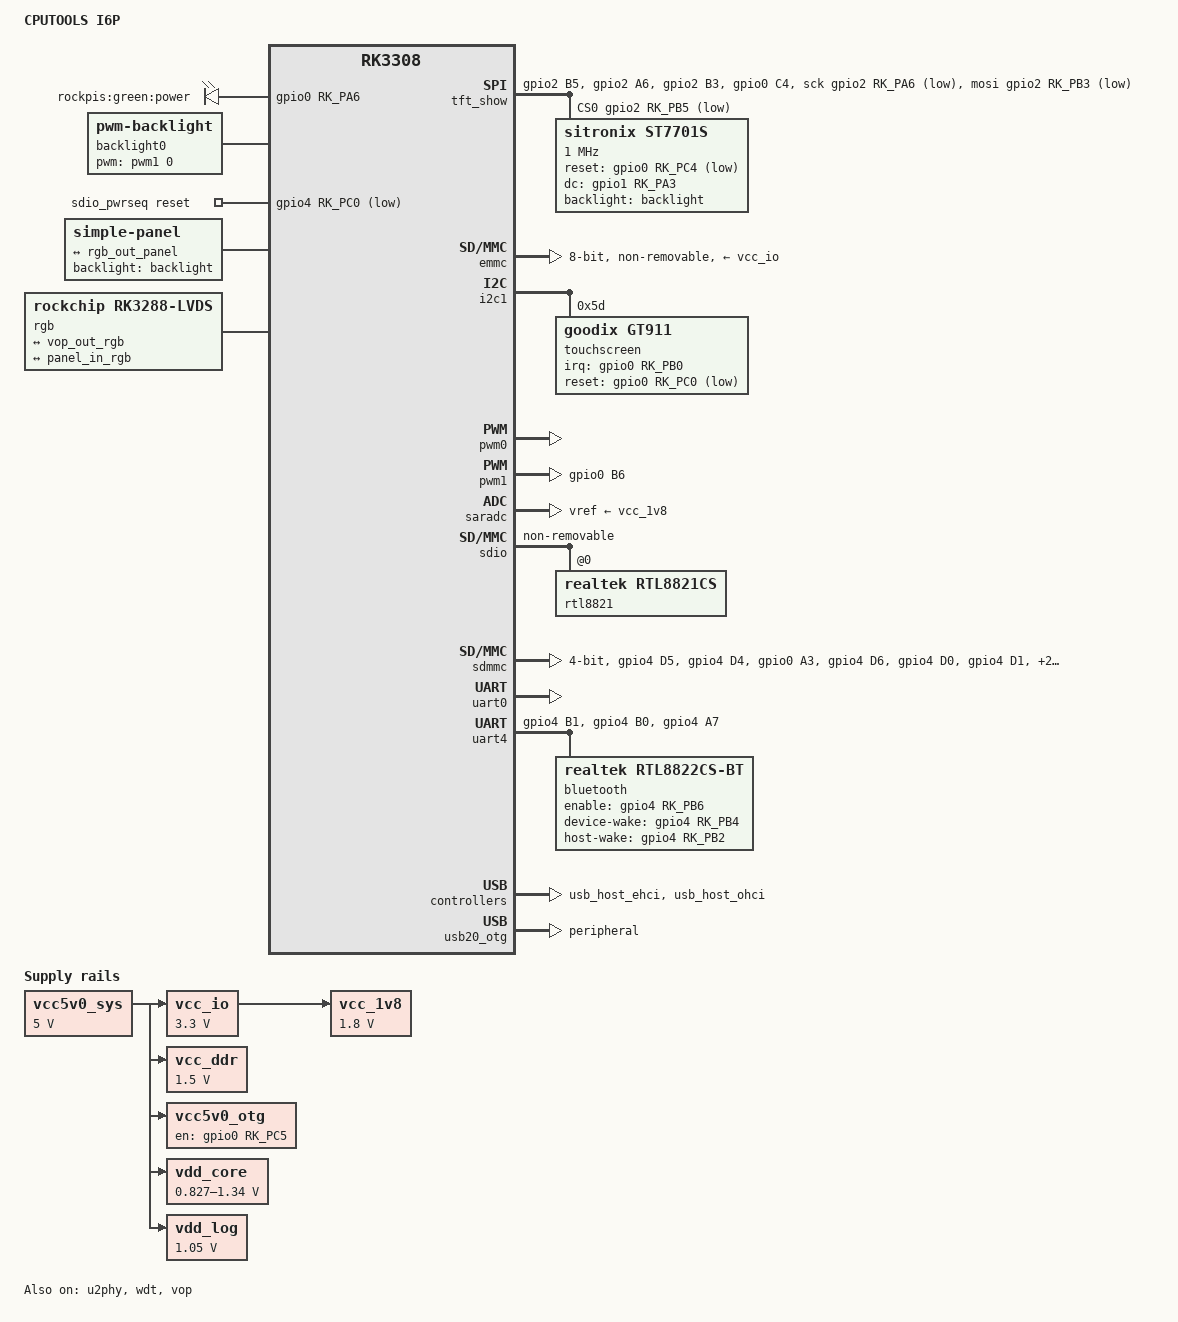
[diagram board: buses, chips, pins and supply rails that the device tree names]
// SPDX-License-Identifier: (GPL-2.0+ OR MIT)
/*
 * Copyright (c) 2019 Akash Gajjar <akash@openedev.com>
 * Copyright (c) 2019 Jagan Teki <jagan@openedev.com>
 */

/dts-v1/;
#include "rk3308.dtsi"
#include <dt-bindings/pwm/pwm.h>
#include <dt-bindings/gpio/gpio.h>
#include <dt-bindings/input/input.h>

/ {
	model = "CPUTOOLS I6P";
	compatible = "i2c,cputools-i6s", "rockchip,rk3308";

	aliases {
		ethernet0 = &gmac;
		mmc0 = &emmc;
		mmc1 = &sdmmc;
		serial0 = &uart0;
	};

	chosen {
		stdout-path = "serial0:1500000n8";
	};

	leds {
		compatible = "gpio-leds";
		pinctrl-names = "default";
		pinctrl-0 = <&green_led_gio>, <&heartbeat_led_gpio>;

		green-led {
			default-state = "on";
			gpios = <&gpio0 RK_PA6 GPIO_ACTIVE_HIGH>;
			label = "rockpis:green:power";
			linux,default-trigger = "timer";
		};
	};

	gpio_keys: gpio-keys {
		compatible = "gpio-keys";
		autorepeat;
	};

	backlight: backlight {
        compatible = "pwm-backlight";
		label = "backlight0";
		pwms = <&pwm1 0 50000 0>;
		brightness-levels = <
			95  95  95  95  95  95  95  95
			95  95  95  95  95  95  95  95
			95  95  95  95  95  95  95  95
			95  95  95  95  95  95  95  95
			95  95  95  95  95  95  95  95
			95  95  95  95  95  95  95  95
			95  95  95  95  95  95  95  95
			95  95  95  95  95  95  95  95
			95  95  95  95  95  95  95  95
			95  95  95  95  95  95  95  95
			95  95  95  95  95  95  95  95
			88  89  90  91  92  93  94  95
			96  97  98  99 100 101 102 103
			104 105 106 107 108 109 110 111
			112 113 114 115 116 117 118 119
			120 121 122 123 124 125 126 127
			128 129 130 131 132 133 134 135
			136 137 138 139 140 141 142 143
			144 145 146 147 148 149 150 151
			152 153 154 155 156 157 158 159
			160 161 162 163 164 165 166 167
			168 169 170 171 172 173 174 175
			176 177 178 179 180 181 182 183
			184 185 186 187 188 189 190 191
			192 193 194 195 196 197 198 199
			200 201 202 203 204 205 206 207
			208 209 210 211 212 213 214 215
			216 217 218 219 220 221 222 223
			224 225 226 227 228 229 230 231
			232 233 234 235 236 237 238 239
			240 241 242 243 244 245 246 247
			248 249 250 251 252 253 254 255
		>;
		default-brightness-level = <128>;
        status = "okay";
    };

	sdio_pwrseq: sdio-pwrseq {
		compatible = "mmc-pwrseq-simple";
		pinctrl-0 = <&wifi_enable_h>;
		pinctrl-names = "default";
		reset-gpios = <&gpio4 RK_PC0 GPIO_ACTIVE_LOW>;
	};

	tft_show: tft-show {
		compatible = "spi-gpio";
		#address-cells = <0x1>;
		#size-cells = <0x0>;
		pinctrl-0 = <&spi_gpio_pins &reset_pins>;
		pinctrl-names = "default";

		cs-gpios = <&gpio2 RK_PB5 GPIO_ACTIVE_LOW>;
		sck-gpios = <&gpio2 RK_PA6 GPIO_ACTIVE_LOW>;
		mosi-gpios = <&gpio2 RK_PB3 GPIO_ACTIVE_LOW>;
		num-chipselects = <1>;

		st7701s@0 {
			compatible = "sitronix,st7701s";
			reg = <0>;
			spi-max-frequency =<1000000>;
			rotate = <0>;
			spi-cpol;
			spi-cpha;
			rgb;
			fps = <10>;
			buswidth = <9>;
			reset-gpios = <&gpio0 RK_PC4 GPIO_ACTIVE_LOW>;
			dc-gpios = <&gpio1 RK_PA3 GPIO_ACTIVE_HIGH>;
			debug = <0>;
			backlight = <&backlight>;
			status = "okay";
		};
    };

	vcc_1v8: vcc-1v8 {
		compatible = "regulator-fixed";
		regulator-name = "vcc_1v8";
		regulator-always-on;
		regulator-boot-on;
		regulator-min-microvolt = <1800000>;
		regulator-max-microvolt = <1800000>;
		vin-supply = <&vcc_io>;
	};

	vcc_io: vcc-io {
		compatible = "regulator-fixed";
		regulator-name = "vcc_io";
		regulator-always-on;
		regulator-boot-on;
		regulator-min-microvolt = <3300000>;
		regulator-max-microvolt = <3300000>;
		vin-supply = <&vcc5v0_sys>;
	};

	vcc_ddr: vcc-ddr {
		compatible = "regulator-fixed";
		regulator-name = "vcc_ddr";
		regulator-always-on;
		regulator-boot-on;
		regulator-min-microvolt = <1500000>;
		regulator-max-microvolt = <1500000>;
		vin-supply = <&vcc5v0_sys>;
	};

	vcc5v0_otg: vcc5v0-otg {
		compatible = "regulator-fixed";
		enable-active-high;
		gpio = <&gpio0 RK_PC5 GPIO_ACTIVE_HIGH>;
		pinctrl-names = "default";
		pinctrl-0 = <&otg_vbus_drv>;
		regulator-name = "vcc5v0_otg";
		regulator-always-on;
		vin-supply = <&vcc5v0_sys>;
	};

	vcc5v0_sys: vcc5v0-sys {
		compatible = "regulator-fixed";
		regulator-name = "vcc5v0_sys";
		regulator-always-on;
		regulator-boot-on;
		regulator-min-microvolt = <5000000>;
		regulator-max-microvolt = <5000000>;
	};

	vdd_core: vdd-core {
		compatible = "pwm-regulator";
		pwms = <&pwm0 0 5000 1>;
		pwm-supply = <&vcc5v0_sys>;
		regulator-name = "vdd_core";
		regulator-min-microvolt = <827000>;
		regulator-max-microvolt = <1340000>;
		regulator-init-microvolt = <1015000>;
		regulator-settling-time-up-us = <250>;
		regulator-always-on;
		regulator-boot-on;
	};

	vdd_log: vdd-log {
		compatible = "regulator-fixed";
		regulator-name = "vdd_log";
		regulator-always-on;
		regulator-boot-on;
		regulator-min-microvolt = <1050000>;
		regulator-max-microvolt = <1050000>;
		vin-supply = <&vcc5v0_sys>;
	};

	display_subsystem: display-subsystem {
		compatible = "rockchip,display-subsystem";
		ports = <&vop_out>;
		logo-memory-region = <&drm_logo>;
		status = "disabled";

		devfreq = <&dmc>;
		route {
			route_rgb: route-rgb {
				status = "disabled";
				logo,uboot = "logo.bmp";
				/* logo,kernel = "logo_kernel.bmp"; */
				logo,mode = "center";
				charge_logo,mode = "center";
				connect = <&vop_out_rgb>;
			};
		};
	};

	panel: panel {
		compatible = "auo,b101ean01";
		status = "disabled";
		/* enable-gpios = <&gpio7 21 GPIO_ACTIVE_HIGH>; */
		bus-format = <0x100a>;

		ports {
			panel_in_rgb: endpoint {
				remote-endpoint = <&rgb_out_panel>;
			};
		};
	};

	rgb: rgb {
		compatible = "rockchip,rk3288-lvds";
		status = "disabled";
		pinctrl-names = "default";
		pinctrl-0 = <&lcdc_ctl>;

		ports {
			#address-cells = <1>;
			#size-cells = <0>;

			port@0 {
				reg = <0>;

				#address-cells = <1>;
				#size-cells = <0>;

				rgb_in_vop: endpoint@0 {
					reg = <0>;
					remote-endpoint = <&vop_out_rgb>;
				};
			};

			rgb_out: port@1 {
				reg = <1>;
				#address-cells = <1>;
				#size-cells = <0>;

				rgb_out_panel: endpoint {
					remote-endpoint = <&panel_in_rgb>;
				};
			};

		};
	};

	vop: vop@ff2e0000 {
		compatible = "rockchip,rk3308-vop";
		reg = <0x0 0xff2e0000 0x0 0x1fc>, <0x0 0xff2e0a00 0x0 0x400>;
		reg-names = "regs", "gamma_lut";
		interrupts = <GIC_SPI 46 IRQ_TYPE_LEVEL_HIGH>;
		clocks = <&cru ACLK_VOP>, <&cru DCLK_VOP>,
			 <&cru HCLK_VOP>;
		clock-names = "aclk_vop", "dclk_vop", "hclk_vop";
		rockchip,grf = <&grf>;
		status = "disabled";

		vop_out: port {
			#address-cells = <1>;
			#size-cells = <0>;

			vop_out_rgb: endpoint@0 {
				reg = <0>;
				remote-endpoint = <&rgb_in_vop>;
			};
		};
	};
};

&cpu0 {
	cpu-supply = <&vdd_core>;
};

&emmc {
	pinctrl-names = "default";
    pinctrl-0 = <&emmc_clk &emmc_cmd &emmc_bus8>;
	bus-width = <8>;
	cap-mmc-highspeed;
	mmc-hs200-1_8v;
	non-removable;
	vmmc-supply = <&vcc_io>;
	status = "okay";
};

&display_subsystem {
	status = "okay";
};

&panel {
	compatible = "simple-panel";
	/* compatible = "auo,b101ean01"; *//* 1280 x 800 */
	/* compatible = "avic,tm070ddh03"; *//* 1024 x 600 */
	/* compatible = "innolux,zj070na-01p"; *//* 1024 x 600 */
	/* MEDIA_BUS_FMT_RGB888_1X24 MEDIA_BUS_FMT_RGB666_1X18 MEDIA_BUS_FMT_RGB565_1X16 MEDIA_BUS_FMT_RGB666_1X24_CPADHI */
	bus-format = <MEDIA_BUS_FMT_RGB666_1X18>;
	backlight = <&backlight>;
	status = "okay";

	reset-delay-ms = <120>;
	init-delay-ms = <120>;
	enable-delay-ms = <120>;
	prepare-delay-ms = <120>;
	disable-delay-ms = <120>;
	unprepare-delay-ms = <120>;

	display-timings {
		native-mode = <&mdk3308_lcd1024_timing>;

		mdk3308_lcd1024_timing: timing0 {
			clock-frequency = <36600000>;
			hactive = <1024>;
			vactive = <600>;
			hback-porch = <140>;
			hfront-porch = <160>;
			vback-porch = <20>;
			vfront-porch = <12>;
			hsync-len = <20>;
			vsync-len = <3>;
			hsync-active = <0>;
			vsync-active = <0>;
			de-active = <0>;
			pixelclk-active = <1>;
		};

		mdk3308_lcd800_timing: timing1 {
			clock-frequency = <33000000>;
			hactive = <800>;
			vactive = <480>;
			hback-porch = <40>;
			hfront-porch = <40>;
			vback-porch = <29>;
			vfront-porch = <13>;
			hsync-len = <48>;
			vsync-len = <3>;
			hsync-active = <0>;
			vsync-active = <0>;
			de-active = <0>;
			pixelclk-active = <1>;
		};

		mdk3308_lcd480_timing: timing2 {
			clock-frequency = <9000000>;
			hactive = <480>;
			vactive = <272>;
			hback-porch = <2>;
			hfront-porch = <2>;
			vback-porch = <2>;
			vfront-porch = <2>;
			hsync-len = <41>;
			vsync-len = <10>;
			hsync-active = <0>;
			vsync-active = <0>;
			de-active = <0>;
			pixelclk-active = <1>;
		};

		mdk3308_lcd320480_timing: timing3 {
			clock-frequency = <11000000>;
			hactive = <320>;
			vactive = <480>;
			hback-porch = <10>;
			hfront-porch = <4>;
			vback-porch = <10>;
			vfront-porch = <4>;
			hsync-len = <20>;
			vsync-len = <20>;
			hsync-active = <0>;
			vsync-active = <0>;
			de-active = <0>;
			pixelclk-active = <0>;
		};
	};
};

&rgb {
	/delete-property/ pinctrl-0;
	status = "okay";
};

&vop {
	status = "okay";
};

&gmac {
	status = "disabled";
};

&i2c1 {
	compatible = "rockchip,rk3399-i2c";
	status = "okay";
	pinctrl-names = "default";
    pinctrl-0 = <&i2c1_xfer>;

	touchscreen@5d {
		compatible = "goodix,gt911";
		reg = <0x5d>;
		pinctrl-names = "default";
		pinctrl-0 = <&tp_int &tp_reset>;
		interrupt-parent = <&gpio0>;
		interrupts = <RK_PB0 IRQ_TYPE_EDGE_FALLING>;
		irq-gpios = <&gpio0 RK_PB0 GPIO_ACTIVE_HIGH>;
		reset-gpios = <&gpio0 RK_PC0 GPIO_ACTIVE_LOW>;
		// touchscreen-swapped-x-y;
		touchscreen-size-x = <480>;
		touchscreen-size-y = <800>;
		status = "okay";
	};
};

&pinctrl {
	pinctrl-names = "default";
	pinctrl-0 = <&rtc_32k>;

	sdmmc {
		sdmmc_clk: sdmmc-clk {
			rockchip,pins =
				<4 RK_PD5 1 &pcfg_pull_none_4ma>;
		};

		sdmmc_cmd: sdmmc-cmd {
			rockchip,pins =
				<4 RK_PD4 1 &pcfg_pull_up_4ma>;
		};

		sdmmc_det: sdmmc-det {
			rockchip,pins =
				<0 RK_PA3 1 &pcfg_pull_up_4ma>;
		};

		sdmmc_pwren: sdmmc-pwren {
			rockchip,pins =
				<4 RK_PD6 1 &pcfg_pull_none_4ma>;
		};

		sdmmc_bus1: sdmmc-bus1 {
			rockchip,pins =
				<4 RK_PD0 1 &pcfg_pull_up_4ma>;
		};

		sdmmc_bus4: sdmmc-bus4 {
			rockchip,pins =
				<4 RK_PD0 1 &pcfg_pull_up_4ma>,
				<4 RK_PD1 1 &pcfg_pull_up_4ma>,
				<4 RK_PD2 1 &pcfg_pull_up_4ma>,
				<4 RK_PD3 1 &pcfg_pull_up_4ma>;
		};

		sdmmc_bus8: sdmmc-bus8 {
			rockchip,pins =
				<4 RK_PD0 0 &pcfg_pull_up_4ma>,
				<4 RK_PD1 0 &pcfg_pull_up_4ma>,
				<4 RK_PD2 0 &pcfg_pull_up_4ma>,
				<4 RK_PD3 0 &pcfg_pull_up_4ma>,
				<4 RK_PD4 0 &pcfg_pull_up_4ma>,
				<4 RK_PD5 0 &pcfg_pull_up_4ma>,
				<4 RK_PD6 0 &pcfg_pull_up_4ma>;
		};
	};

	leds {
		green_led_gio: green-led-gpio {
			rockchip,pins = <0 RK_PA6 RK_FUNC_GPIO &pcfg_pull_none>;
		};

		heartbeat_led_gpio: heartbeat-led-gpio {
			rockchip,pins = <0 RK_PA5 RK_FUNC_GPIO &pcfg_pull_none>;
		};
	};

	usb {
		otg_vbus_drv: otg-vbus-drv {
			rockchip,pins = <0 RK_PC5 RK_FUNC_GPIO &pcfg_pull_none>;
		};
	};

	sdio-pwrseq {
		wifi_enable_h: wifi-enable-h {
			rockchip,pins = 
				<4 RK_PC0 RK_FUNC_GPIO &pcfg_pull_none>;
		};
	};

	uart0 {
		uart0_xfer: uart0-xfer {
			rockchip,pins =
				<2 RK_PA1 1 &pcfg_pull_up>,
				<2 RK_PA0 1 &pcfg_pull_up>;
		};
	};

	uart4 {
		uart4_xfer: uart4-xfer {
			rockchip,pins =
				<4 RK_PB1 1 &pcfg_pull_up>,
				<4 RK_PB0 1 &pcfg_pull_up>;
		};

		uart4_cts: uart4-cts {
			rockchip,pins =
				<4 RK_PA6 1 &pcfg_pull_none>;
		};

		uart4_rts: uart4-rts {
			rockchip,pins =
				<4 RK_PA7 1 &pcfg_pull_none>;
		};
	};

	bluetooth {
		bluetooth_pins: bluetooth-rts {
			rockchip,pins =
				<4 RK_PB6 RK_FUNC_GPIO &pcfg_pull_none>,
				<4 RK_PB4 RK_FUNC_GPIO &pcfg_pull_none>,
				<4 RK_PB2 RK_FUNC_GPIO &pcfg_pull_none>;
		};

	};

	pwm1 {
		pwm1_pin: pwm1-pin {
			rockchip,pins =
				<0 RK_PB6 1 &pcfg_pull_none>;
		};
	};

	lcd_pins {
		lcd_pins: lcd-pins {
			rockchip,pins =
				<2 RK_PC0 1 &pcfg_pull_up>, // R7
				<2 RK_PB7 1 &pcfg_pull_up>, // R6
				<2 RK_PB2 1 &pcfg_pull_up>, // R5
				<2 RK_PB1 1 &pcfg_pull_up>, // R4
				<1 RK_PB6 1 &pcfg_pull_up>, // LCDC_D10 B2
				<1 RK_PB5 1 &pcfg_pull_up>, // LCDC_D9 B1
				<1 RK_PB4 1 &pcfg_pull_up>, // LCDC_D8 B0
				<1 RK_PB3 1 &pcfg_pull_up>, // LCDC_D7 G7
				<1 RK_PB2 1 &pcfg_pull_up>, // LCDC_D6 G6
				<1 RK_PB1 1 &pcfg_pull_up>, // LCDC_D5 G5
				<1 RK_PB0 1 &pcfg_pull_up>, // LCDC_D4 G4
				<1 RK_PA7 1 &pcfg_pull_up>, // LCDC_D3 G3
				<1 RK_PA6 1 &pcfg_pull_up>, // LCDC_D2 G2
				<1 RK_PA5 1 &pcfg_pull_up>, // LCDC_D1 G1
				<1 RK_PA4 1 &pcfg_pull_up>, // LCDC_D0 G0
				<1 RK_PC7 1 &pcfg_pull_up>, // spi2_mosi/uart2_tx R3
				<1 RK_PC6 1 &pcfg_pull_up>, // spi2_miso/uart2_rx R2
				<1 RK_PC5 1 &pcfg_pull_up>, // LCDC_D17 R1
				<1 RK_PC4 1 &pcfg_pull_up>, // LCDC_D16 R0
				<1 RK_PA3 1 &pcfg_pull_up>, // LCDC_DEN de
				<1 RK_PA2 1 &pcfg_pull_up>, // LCDC_VSYNC vs
				<1 RK_PA1 1 &pcfg_pull_up>, // LCDC_HSYC hs
				<1 RK_PA0 1 &pcfg_pull_up>, // LCDC_DCLK dclk
				<1 RK_PC3 1 &pcfg_pull_up>, // LCDC_D15 B7
				<1 RK_PC2 1 &pcfg_pull_up>, // LCDC_D14 B6
				<1 RK_PC1 1 &pcfg_pull_up>, // LCDC_D13 B5
				<1 RK_PC0 1 &pcfg_pull_up>, // LCDC_D12 B4
				<1 RK_PB7 1 &pcfg_pull_up>; // LCDC_D11 B3
		};

		lcdc_ctl: lcdc-ctl {
				rockchip,pins =
					/* dclk */
					<1 RK_PA0 RK_FUNC_1 &pcfg_pull_none>,
					/* hsync */
					<1 RK_PA1 RK_FUNC_1 &pcfg_pull_none>,
					/* vsync */
					<1 RK_PA2 RK_FUNC_1 &pcfg_pull_none>,
					/* den */
					<1 RK_PA3 RK_FUNC_1 &pcfg_pull_none>,
					/* d0 */
					<1 RK_PA4 RK_FUNC_1 &pcfg_pull_none>,
					/* d1 */
					<1 RK_PA5 RK_FUNC_1 &pcfg_pull_none>,
					/* d2 */
					<1 RK_PA6 RK_FUNC_1 &pcfg_pull_none>,
					/* d3 */
					<1 RK_PA7 RK_FUNC_1 &pcfg_pull_none>,
					/* d4 */
					<1 RK_PB0 RK_FUNC_1 &pcfg_pull_none>,
					/* d5 */
					<1 RK_PB1 RK_FUNC_1 &pcfg_pull_none>,
					/* d6 */
					<1 RK_PB2 RK_FUNC_1 &pcfg_pull_none>,
					/* d7 */
					<1 RK_PB3 RK_FUNC_1 &pcfg_pull_none>,
					/* d8 */
					<1 RK_PB4 RK_FUNC_1 &pcfg_pull_none>,
					/* d9 */
					<1 RK_PB5 RK_FUNC_1 &pcfg_pull_none>,
					/* d10 */
					<1 RK_PB6 RK_FUNC_1 &pcfg_pull_none>,
					/* d11 */
					<1 RK_PB7 RK_FUNC_1 &pcfg_pull_none>,
					/* d12 */
					<1 RK_PC0 RK_FUNC_1 &pcfg_pull_none>,
					/* d13 */
					<1 RK_PC1 RK_FUNC_1 &pcfg_pull_none>,
					/* d14 */
					<1 RK_PC2 RK_FUNC_1 &pcfg_pull_none>,
					/* d15 */
					<1 RK_PC3 RK_FUNC_1 &pcfg_pull_none>,
					/* d16 */
					<1 RK_PC4 RK_FUNC_1 &pcfg_pull_none>,
					/* d17 */
					<1 RK_PC5 RK_FUNC_1 &pcfg_pull_none>;
			};

			lcdc_rgb888_m0: lcdc-rgb888-m0 {
				rockchip,pins =
					/* d18 */
					<1 RK_PC6 RK_FUNC_6 &pcfg_pull_none>,
					/* d19 */
					<1 RK_PC7 RK_FUNC_6 &pcfg_pull_none>,
					/* d20 */
					<2 RK_PB1 RK_FUNC_3 &pcfg_pull_none>,
					/* d21 */
					<2 RK_PB2 RK_FUNC_3 &pcfg_pull_none>,
					/* d22 */
					<2 RK_PB7 RK_FUNC_3 &pcfg_pull_none>,
					/* d23 */
					<2 RK_PC0 RK_FUNC_3 &pcfg_pull_none>;
			};

			lcdc_rgb888_m1: lcdc-rgb888-m1 {
				rockchip,pins =
					/* d18 */
					<3 RK_PA6 RK_FUNC_3 &pcfg_pull_none>,
					/* d19 */
					<3 RK_PA7 RK_FUNC_3 &pcfg_pull_none>,
					/* d20 */
					<3 RK_PB0 RK_FUNC_3 &pcfg_pull_none>,
					/* d21 */
					<3 RK_PB1 RK_FUNC_3 &pcfg_pull_none>,
					/* d22 */
					<3 RK_PB2 RK_FUNC_4 &pcfg_pull_none>,
					/* d23 */
					<3 RK_PB3 RK_FUNC_4 &pcfg_pull_none>;
			};
	};

	rgb_tft {
		spi_gpio_pins: spi_gpio-pins {
			rockchip,pins =
				<2 RK_PB5 RK_FUNC_GPIO &pcfg_pull_up>, // cs
				<2 RK_PA6 RK_FUNC_GPIO &pcfg_pull_up>, // scl
				<2 RK_PB3 RK_FUNC_GPIO &pcfg_pull_up>; // sdi
		};

		reset_pins: reset-pins {
			rockchip,pins =
				<0 RK_PC4 RK_FUNC_GPIO &pcfg_pull_up>; // reset
		};
	};

	gt911 {
		i2c1_pins: i2c1-pins {
			rockchip,pins =
				<0 RK_PB3 1 &pcfg_pull_none_smt>,
				<0 RK_PB4 1 &pcfg_pull_none_smt>;
		};

		tp_int: tp-int {
			rockchip,pins =
				<0 RK_PB0 RK_FUNC_GPIO &pcfg_pull_up>;
		};

		tp_reset: tp-reset {
			rockchip,pins =
				<0 RK_PC0 RK_FUNC_GPIO &pcfg_pull_up>;
		};
	};
};

&pwm0 {
	status = "okay";
	pinctrl-0 = <&pwm0_pin_pull_down>;
};

&pwm1 {
	status = "okay";
	pinctrl-names = "default";
	pinctrl-0 = <&pwm1_pin>;
};

&saradc {
	vref-supply = <&vcc_1v8>;
	status = "okay";
};

&sdio {
	#address-cells = <1>;
	#size-cells = <0>;
	pinctrl-names = "default";
	pinctrl-0 = <&sdio_bus4 &sdio_cmd &sdio_clk &sdio_intn>;
	cap-sd-highspeed;
	cap-sdio-irq;
	keep-power-in-suspend;
	max-frequency = <1000000>;
	mmc-pwrseq = <&sdio_pwrseq>;
	non-removable;
	sd-uhs-sdr104;
	status = "okay";
	rtl8821@0 {
		compatible = "realtek,rtl8821cs";
		reg = <0>;
		bus-width = <4>;
	};
};

&sdmmc {
	pinctrl-names = "default";
	pinctrl-0 = <&sdmmc_clk &sdmmc_cmd &sdmmc_det &sdmmc_pwren &sdmmc_bus4>;
	bus-width = <4>;
	cap-sd-highspeed;
	status = "okay";
};

&u2phy {
	status = "okay";

	u2phy_host: host-port {
		phy-supply = <&vcc5v0_otg>;
		status = "okay";
	};

	u2phy_otg: otg-port {
		phy-supply = <&vcc5v0_otg>;
		status = "okay";
	};
};

&uart0 {
	status = "okay";
};

&uart1 {
	status = "disabled";
};

&uart2 {
	status = "disabled";
};

&uart3 {
	status = "disabled";
};

&uart4 {
	pinctrl-names = "default";
	pinctrl-0 = <&uart4_xfer &uart4_rts>;
	uart-has-rtscts;
	status = "okay";

	bluetooth {
		compatible = "realtek,rtl8822cs-bt";
		pinctrl-names = "default";
		pinctrl-0 = <&bluetooth_pins>;
		enable-gpios = <&gpio4 RK_PB6 GPIO_ACTIVE_HIGH>;
		device-wake-gpios = <&gpio4 RK_PB4 GPIO_ACTIVE_HIGH>;
		host-wake-gpios = <&gpio4 RK_PB2 GPIO_ACTIVE_HIGH>;
		max-speed = <1500000>;
	};
};

&usb_host_ehci {
	status = "okay";
};

&usb_host_ohci {
	status = "okay";
};

&usb20_otg {
	dr_mode = "peripheral";
	status = "okay";
};

&wdt {
	status = "okay";
};
